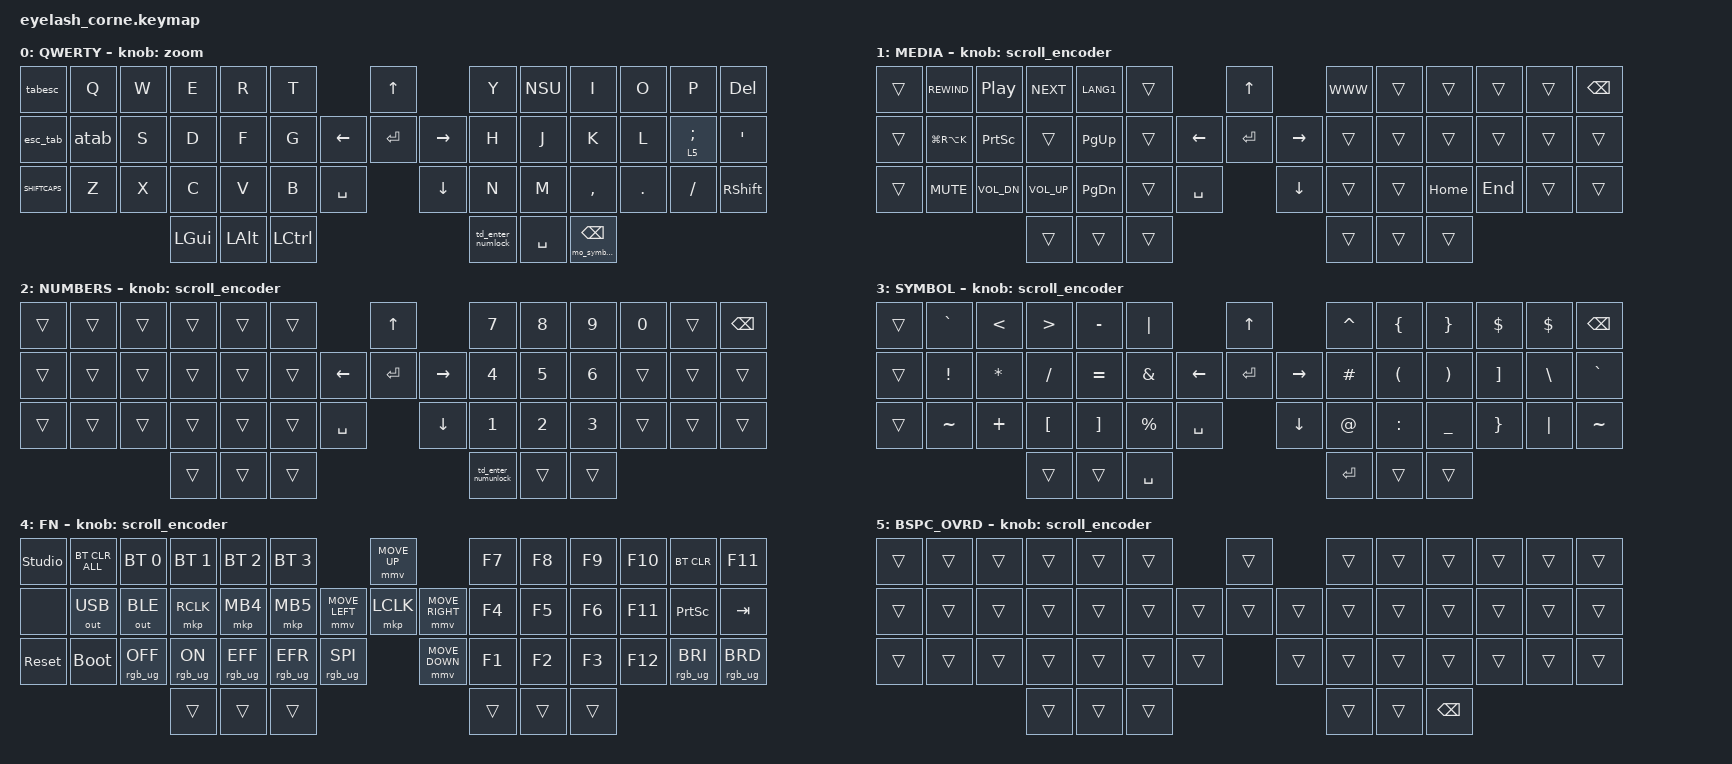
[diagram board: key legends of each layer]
#define ZMK_POINTING_DEFAULT_MOVE_VAL 1200  // 600
#define ZMK_POINTING_DEFAULT_SCRL_VAL 25   // 10

#include <input/processors.dtsi>
#include <zephyr/dt-bindings/input/input-event-codes.h>
#include <behaviors.dtsi>
#include <dt-bindings/zmk/bt.h>
#include <dt-bindings/zmk/keys.h>
#include <dt-bindings/zmk/outputs.h>
#include <dt-bindings/zmk/pointing.h>
#include <dt-bindings/zmk/rgb.h>

/* --- FIX: encoder speed (20 detents) --- */
/* 20 detents * 4 pulses = 80 steps */
&left_encoder {
    status = "okay";
    steps = <80>;
};

/* board dtsi node is /sensors (no label), so override by path */
&{/sensors} {
    triggers-per-rotation = <20>;
};
/* --- end FIX --- */

&mmv_input_listener { input-processors = <&zip_xy_scaler 2 1>; };

&msc_input_listener { input-processors = <&zip_scroll_scaler 2 1>; };

&msc {
    acceleration-exponent = <1>;      // 0
    time-to-max-speed-ms = <100>;     // 300
    delay-ms = <0>;                   // 0
};

&mmv {
    time-to-max-speed-ms = <500>;
    acceleration-exponent = <1>;
    trigger-period-ms = <16>;
};

&soft_off { hold-time-ms = <2000>; };

/ {
    behaviors {
        esc_tab: esc_tab {
            compatible = "zmk,behavior-mod-morph";
            label = "ESC_TAB";
            bindings = <&kp ESCAPE>, <&kp RS(TAB)>;

            #binding-cells = <0>;
            mods = <(MOD_LALT|MOD_RALT)>;
            keep-mods = <(MOD_LALT|MOD_RALT)>;
        };

        tabesc: tabesc {
            compatible = "zmk,behavior-mod-morph";
            label = "TABESC";
            bindings = <&kp TAB>, <&kp ESCAPE>;

            #binding-cells = <0>;
            mods = <(MOD_LALT|MOD_RALT)>;
            keep-mods = <(MOD_LALT|MOD_RALT)>;
        };

        atab: atab {
            compatible = "zmk,behavior-mod-morph";
            label = "ATAB";
            bindings = <&kp A>, <&kp TAB>;

            #binding-cells = <0>;
            mods = <(MOD_LALT|MOD_RALT)>;
            keep-mods = <(MOD_LALT|MOD_RALT)>;
        };

        lt1_bspc_rgb: lt1_bspc_rgb {
            compatible = "zmk,behavior-hold-tap";
            label = "LT1_BSPC_RGB";
            #binding-cells = <2>;
            flavor = "tap-preferred";
            tapping-term-ms = <100>;
            quick-tap-ms = <90>;
            require-prior-idle-ms = <100>;
            retro-tap;
            hold-while-undecided;
            bindings = <&mo_media_rgb>, <&kp>;
        };

        lt_bspc_symbol_rgb: lt_bspc_symbol_rgb {
            compatible = "zmk,behavior-hold-tap";
            label = "LT_BSPC_SYMBOL_RGB";
            #binding-cells = <2>;
            flavor = "tap-preferred";
            tapping-term-ms = <100>;
            quick-tap-ms = <90>;
            require-prior-idle-ms = <100>;
            retro-tap;
            hold-while-undecided;
            bindings = <&mo_symbol_rgb>, <&kp>;
        };

        ht_ctrlspace_symbol: ht_ctrlspace_symbol {
            compatible = "zmk,behavior-hold-tap";
            label = "HT_CTRLSPACE_SYMBOL";
            #binding-cells = <2>;
            flavor = "balanced";
            tapping-term-ms = <150>;
            bindings = <&mo_ctrlshift_symbol>, <&kp>;
        };

        lt2_enter_rgb: lt2_enter_rgb {
            compatible = "zmk,behavior-hold-tap";
            label = "LT2_ENTER_RGB";
            #binding-cells = <2>;
            flavor = "tap-preferred";
            tapping-term-ms = <100>;
            quick-tap-ms = <90>;
            require-prior-idle-ms = <100>;
            retro-tap;
            hold-while-undecided;
            bindings = <&mo_numbers_rgb>, <&kp>;
        };

        td_enter_numlock: td_enter_numlock {
            compatible = "zmk,behavior-tap-dance";
            label = "TD_ENTER_NUMLOCK";
            #binding-cells = <0>;
            tapping-term-ms = <200>;
            bindings = <&lt2_enter_rgb 0 ENTER>, <&tog_numbers_rgb>;
        };

        td_enter_numunlock: td_enter_numunlock {
            compatible = "zmk,behavior-tap-dance";
            label = "TD_ENTER_NUMUNLOCK";
            #binding-cells = <0>;
            tapping-term-ms = <200>;
            bindings = <&kp ENTER>, <&untog_numbers_rgb>;
        };

        lt3_space_rgb: lt3_space_rgb {
            compatible = "zmk,behavior-hold-tap";
            label = "LT3_SPACE_RGB";
            #binding-cells = <2>;
            flavor = "tap-preferred";
            hold-while-undecided;
            tapping-term-ms = <100>;
            quick-tap-ms = <90>;
            require-prior-idle-ms = <100>;
            retro-tap;
            bindings = <&mo_symbol_rgb>, <&kp>;
        };

        SHIFTCAPS: SHIFTCAPS {
            compatible = "zmk,behavior-tap-dance";
            label = "SHIFTCAPS";
            #binding-cells = <0>;
            tapping-term-ms = <200>;
            bindings = <&kp LSHIFT>, <&kp CAPS>;
        };

        NSU: NSU {
            compatible = "zmk,behavior-tap-dance";
            label = "NSU";
            #binding-cells = <0>;
            bindings = <&kp U>, <&kp LS(LA(U))>;
        };

        zoom: zoom {
            compatible = "zmk,behavior-sensor-rotate";
            #sensor-binding-cells = <0>;
            bindings = <&kp RC(KP_PLUS)>, <&kp LC(KP_MINUS)>;
            label = "ZOOM";
        };
    };

    macros {
        mo_media_rgb: mo_media_rgb {
            compatible = "zmk,behavior-macro-one-param";
            label = "MO_MEDIA_RGB";
            #binding-cells = <1>;
            wait-ms = <0>;
            tap-ms = <0>;
            bindings =
                <&macro_press>,
                <&mo 1>,
                <&macro_tap>,
                <&rgb_ug RGB_COLOR_HSB(120,100,10)>,
                <&macro_pause_for_release>,
                <&macro_release>,
                <&mo 1>,
                <&macro_tap>,
                <&rgb_ug RGB_COLOR_HSB(0,0,10)>;
        };

        mo_numbers_rgb: mo_numbers_rgb {
            compatible = "zmk,behavior-macro-one-param";
            label = "MO_NUMBERS_RGB";
            #binding-cells = <1>;
            wait-ms = <0>;
            tap-ms = <0>;
            bindings =
                <&macro_press>,
                <&mo 2>,
                <&macro_tap>,
                <&rgb_ug RGB_COLOR_HSB(210,100,10)>,
                <&macro_pause_for_release>,
                <&macro_release>,
                <&mo 2>,
                <&macro_tap>,
                <&rgb_ug RGB_COLOR_HSB(0,0,10)>;
        };

        tog_numbers_rgb: tog_numbers_rgb {
            compatible = "zmk,behavior-macro";
            label = "TOG_NUMBERS_RGB";
            #binding-cells = <0>;
            wait-ms = <0>;
            tap-ms = <0>;
            bindings = <&tog 2>, <&rgb_ug RGB_COLOR_HSB(210,100,10)>;
        };

        untog_numbers_rgb: untog_numbers_rgb {
            compatible = "zmk,behavior-macro";
            label = "UNTOG_NUMBERS_RGB";
            #binding-cells = <0>;
            wait-ms = <0>;
            tap-ms = <0>;
            bindings = <&tog 2>, <&rgb_ug RGB_COLOR_HSB(0,0,10)>;
        };

        mo_symbol_rgb: mo_symbol_rgb {
            compatible = "zmk,behavior-macro-one-param";
            label = "MO_SYMBOL_RGB";
            #binding-cells = <1>;
            wait-ms = <0>;
            tap-ms = <0>;
            bindings =
                <&macro_press>,
                <&mo 3>,
                <&macro_tap>,
                <&rgb_ug RGB_COLOR_HSB(0,100,10)>,
                <&macro_pause_for_release>,
                <&macro_release>,
                <&mo 3>,
                <&macro_tap>,
                <&rgb_ug RGB_COLOR_HSB(0,0,10)>;
        };

        mo_fn_rgb: mo_fn_rgb {
            compatible = "zmk,behavior-macro";
            label = "MO_FN_RGB";
            #binding-cells = <0>;
            wait-ms = <0>;
            tap-ms = <0>;
            bindings =
                <&macro_press>,
                <&mo 4>,
                <&macro_tap>,
                <&rgb_ug RGB_COLOR_HSB(30,100,10)>,
                <&macro_pause_for_release>,
                <&macro_release>,
                <&mo 4>,
                <&macro_tap>,
                <&rgb_ug RGB_COLOR_HSB(0,0,10)>;
        };

        mo_symbol_shift: mo_symbol_shift {
            compatible = "zmk,behavior-macro";
            label = "MO_SYMBOL_SHIFT";
            #binding-cells = <0>;
            wait-ms = <0>;
            tap-ms = <0>;
            bindings =
                <&macro_press>,
                <&mo 3 &kp LSHIFT>,
                <&macro_pause_for_release>,
                <&macro_release>,
                <&mo 3 &kp LSHIFT>;
        };

        mo_ctrlshift_symbol: mo_ctrlshift_symbol {
            compatible = "zmk,behavior-macro-one-param";
            label = "MO_CTRLSHIFT_SYMBOL";
            #binding-cells = <1>;
            wait-ms = <0>;
            tap-ms = <0>;
            bindings =
                <&macro_press>,
                <&kp LCTRL &kp LSHIFT &mo 3>,
                <&macro_tap>,
                <&rgb_ug RGB_COLOR_HSB(300,100,10)>,
                <&macro_pause_for_release>,
                <&macro_release>,
                <&kp LCTRL &kp LSHIFT &mo 3>,
                <&macro_tap>,
                <&rgb_ug RGB_COLOR_HSB(0,0,10)>;
        };
    };

    rgb_encoder: rgb_encoder {
        compatible = "zmk,behavior-sensor-rotate";
        #sensor-binding-cells = <0>;
        bindings = <&rgb_ug RGB_BRI>, <&rgb_ug RGB_BRD>;
    };

    scroll_encoder: scroll_encoder {
        compatible = "zmk,behavior-sensor-rotate";
        #sensor-binding-cells = <0>;
        bindings = <&msc SCRL_DOWN>, <&msc SCRL_UP>;
        tap-ms = <100>;
    };

    combos {
        compatible = "zmk,combos";

        softoff {
            bindings = <&soft_off>;
            key-positions = <1 15 29>;
        };

        fnlayer {
            bindings = <&mo_fn_rgb>;
            key-positions = <45 46>;
        };

        LEFT_SHIFTLCTRL {
            bindings = <&kp LC(LSHIFT)>;
            key-positions = <43 44>;
        };

        lshift {
            bindings = <&kp LEFT_SHIFT>;
            key-positions = <16 17>;
        };

        rshift {
            bindings = <&kp LEFT_SHIFT>;
            key-positions = <23 24>;
        };

        combtabesc {
            bindings = <&tabesc>;
            key-positions = <17 18>;
        };

        ctrl_space_symbol {
            bindings = <&ht_ctrlspace_symbol 0 LC(SPACE)>;
            key-positions = <44 46>;
        };

        jk_media {
            bindings = <&mo 1>;
            key-positions = <21 22>;
        };
    };

    keymap {
        compatible = "zmk,keymap";

        default_layer {
            display-name = "QWERTY";
            bindings = <
&tabesc     &kp Q  &kp W  &kp E         &kp R         &kp T                             &kp UP                &kp Y                   &NSU                    &kp I                 &kp O    &kp P       &kp DEL
&esc_tab    &atab  &kp S  &kp D         &kp F         &kp G                   &kp LEFT  &kp ENTER  &kp RIGHT  &kp H                   &kp J                   &kp K                 &kp L    &lt 5 SEMI  &kp SQT
&SHIFTCAPS  &kp Z  &kp X  &kp C         &kp V         &kp B      &kp SPACE              &kp DOWN              &kp N                   &kp M                   &kp COMMA             &kp DOT  &kp FSLH    &kp RSHIFT
                          &kp LEFT_GUI  &kp LEFT_ALT  &kp LCTRL                                               &td_enter_numlock  &kp SPACE  &lt_bspc_symbol_rgb 0 BSPC
            >;

            sensor-bindings = <&zoom>;
        };

        media_layer {
            display-name = "MEDIA";
            bindings = <
&trans  &kp C_REWIND   &kp C_PLAY_PAUSE  &kp C_NEXT    &kp LANG1  &trans                         &kp UP                &kp K_WWW  &trans  &trans    &trans   &trans  &kp BSPC
&trans  &kp LG(RA(K))  &kp PRINTSCREEN   &trans        &kp PG_UP  &trans               &kp LEFT  &kp ENTER  &kp RIGHT  &trans     &trans  &trans    &trans   &trans  &trans
&trans  &kp C_MUTE     &kp C_VOL_DN      &kp C_VOL_UP  &kp PG_DN  &trans  &kp SPACE              &kp DOWN              &trans     &trans  &kp HOME  &kp END  &trans  &trans
                                         &trans        &trans     &trans                                               &trans     &trans  &trans
            >;

            sensor-bindings = <&scroll_encoder>;
        };

        numbers_layer {
            display-name = "NUMBERS";
            bindings = <
&trans  &trans  &trans  &trans  &trans  &trans                         &kp UP                &kp N7  &kp N8  &kp N9  &kp N0  &trans  &kp BSPC
&trans  &trans  &trans  &trans  &trans  &trans               &kp LEFT  &kp ENTER  &kp RIGHT  &kp N4  &kp N5  &kp N6  &trans  &trans  &trans
&trans  &trans  &trans  &trans  &trans  &trans  &kp SPACE              &kp DOWN              &kp N1  &kp N2  &kp N3  &trans  &trans  &trans
                        &trans  &trans  &trans                                               &td_enter_numunlock  &trans  &trans
            >;

            sensor-bindings = <&scroll_encoder>;
        };

        symbol_layer {
            display-name = "SYMBOL";
            bindings = <
&trans  &kp GRAVE  &kp LT    &kp GT     &kp MINUS  &kp PIPE                          &kp UP                &kp CARET  &kp LBRC              &kp RBRC               &kp DLLR  &kp DOLLAR     &kp BSPC
&trans  &kp EXCL   &kp STAR  &kp SLASH  &kp EQUAL  &kp AMPS                &kp LEFT  &kp ENTER  &kp RIGHT  &kp POUND  &kp LEFT_PARENTHESIS  &kp RIGHT_PARENTHESIS  &kp RBKT  &kp BACKSLASH  &kp GRAVE
&trans  &kp TILDE  &kp PLUS  &kp LBKT   &kp RBKT   &kp PRCNT  &kp SPACE              &kp DOWN              &kp AT     &kp COLON             &kp UNDERSCORE         &kp RBRC  &kp PIPE       &kp TILDE
                             &trans     &trans     &kp SPACE                                               &kp RET    &trans                &trans
            >;

            sensor-bindings = <&scroll_encoder>;
        };

        fn_layer {
            display-name = "FN";
            bindings = <
&studio_unlock  &bt BT_CLR_ALL  &bt BT_SEL 0     &bt BT_SEL 1    &bt BT_SEL 2     &bt BT_SEL 3                                        &mmv MOVE_UP                     &kp F7  &kp F8  &kp F9  &kp F10  &bt BT_CLR       &kp F11
&none           &out OUT_USB    &out OUT_BLE     &mkp RCLK       &mkp MB4         &mkp MB5                            &mmv MOVE_LEFT  &mkp LCLK       &mmv MOVE_RIGHT  &kp F4  &kp F5  &kp F6  &kp F11  &kp PRINTSCREEN  &kp TAB
&sys_reset      &bootloader     &rgb_ug RGB_OFF  &rgb_ug RGB_ON  &rgb_ug RGB_EFF  &rgb_ug RGB_EFR  &rgb_ug RGB_SPI                    &mmv MOVE_DOWN                   &kp F1  &kp F2  &kp F3  &kp F12  &rgb_ug RGB_BRI  &rgb_ug RGB_BRD
                                                 &trans          &trans           &trans                                                                               &trans  &trans  &trans
            >;

            sensor-bindings = <&scroll_encoder>;
        };

        bspc_override_layer {
            display-name = "BSPC_OVRD";
            bindings = <
&trans  &trans  &trans  &trans  &trans  &trans                    &trans          &trans  &trans  &trans         &trans  &trans  &trans
&trans  &trans  &trans  &trans  &trans  &trans            &trans  &trans  &trans  &trans  &trans  &trans         &trans  &trans  &trans
&trans  &trans  &trans  &trans  &trans  &trans  &trans            &trans          &trans  &trans  &trans         &trans  &trans  &trans
                        &trans  &trans  &trans                                    &trans  &trans  &kp BACKSPACE
            >;

            sensor-bindings = <&scroll_encoder>;
        };
    };
};
